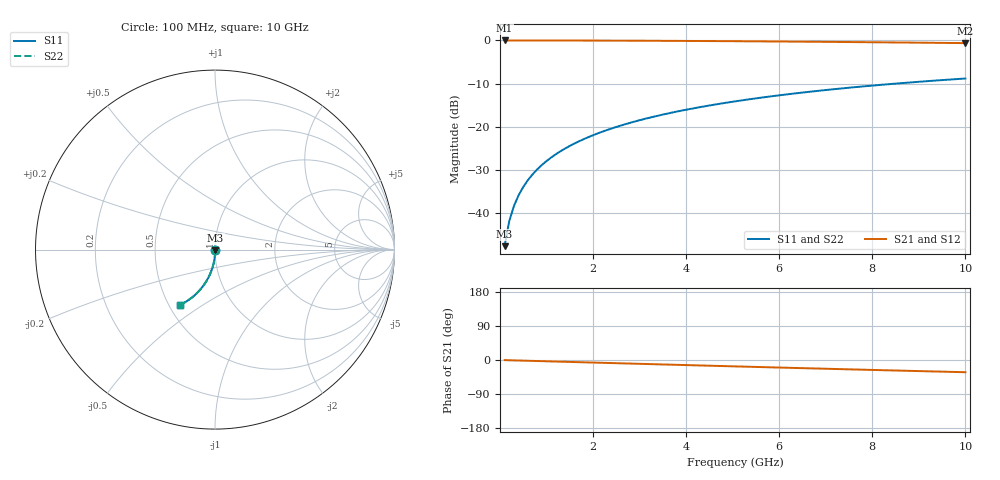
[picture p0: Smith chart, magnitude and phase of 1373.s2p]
# Hz S RI R 50.00
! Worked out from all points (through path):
!   100 points, 100 MHz to 10 GHz, reference 50 ohm
!   highest |S21| = -0.01 dB at 100 MHz (marker M1); lowest = -0.6 dB at 10 GHz (marker M2)
!   group delay of S21, straight-line fit = 8.98 ps
!   lowest |S11| = -47.7 dB at 100 MHz (marker M3), VSWR 1.01, Z = 50.1 - j0.401 ohm
!   |S11| at or under -10 dB: start of sweep to 8.518 GHz
!   |S22| runs from -47.7 to -8.8 dB; largest |S21 - S12| = 0
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1e8  0.000977 -0.004  0.999 -0.00589  0.999 -0.00589  0.000977 -0.004
2e8  0.000908 -0.00801  0.9989 -0.0118  0.9989 -0.0118  0.000908 -0.00801
3e8  0.00079 -0.012  0.9987 -0.0177  0.9987 -0.0177  0.00079 -0.012
4e8  0.000625 -0.016  0.9986 -0.0235  0.9986 -0.0235  0.000625 -0.016
5e8  0.000412 -0.02  0.9983 -0.0294  0.9983 -0.0294  0.000412 -0.02
6e8  0.000151 -0.024  0.998 -0.0353  0.998 -0.0353  0.000151 -0.024
7e8  -0.000157 -0.028  0.9977 -0.0412  0.9977 -0.0412  -0.000157 -0.028
8e8  -0.000512 -0.032  0.9973 -0.047  0.9973 -0.047  -0.000512 -0.032
9e8  -0.000913 -0.036  0.9969 -0.0529  0.9969 -0.0529  -0.000913 -0.036
1.1e9  -0.00186 -0.0439  0.9958 -0.0646  0.9958 -0.0646  -0.00186 -0.0439
1.4e9  -0.00362 -0.0557  0.9939 -0.0821  0.9939 -0.0821  -0.00362 -0.0557
1.8e9  -0.00662 -0.0714  0.9907 -0.1053  0.9907 -0.1053  -0.00662 -0.0714
2.1e9  -0.00934 -0.083  0.9878 -0.1226  0.9878 -0.1226  -0.00934 -0.083
2.5e9  -0.0136 -0.0984  0.9832 -0.1454  0.9832 -0.1454  -0.0136 -0.0984
2.9e9  -0.0185 -0.1134  0.9778 -0.168  0.9778 -0.168  -0.0185 -0.1134
3.4e9  -0.0257 -0.1318  0.9701 -0.1959  0.9701 -0.1959  -0.0257 -0.1318
4.2e9  -0.0392 -0.1601  0.9555 -0.2393  0.9555 -0.2393  -0.0392 -0.1601
5.1e9  -0.0572 -0.1899  0.936 -0.2862  0.936 -0.2862  -0.0572 -0.1899
5.9e9  -0.0754 -0.2145  0.9161 -0.3259  0.9161 -0.3259  -0.0754 -0.2145
6.7e9  -0.0955 -0.2371  0.8941 -0.3637  0.8941 -0.3637  -0.0955 -0.2371
8.4e9  -0.1432 -0.2777  0.8417 -0.4368  0.8417 -0.4368  -0.1432 -0.2777
1e10  -0.1923 -0.3065  0.7871 -0.4962  0.7871 -0.4962  -0.1923 -0.3065
